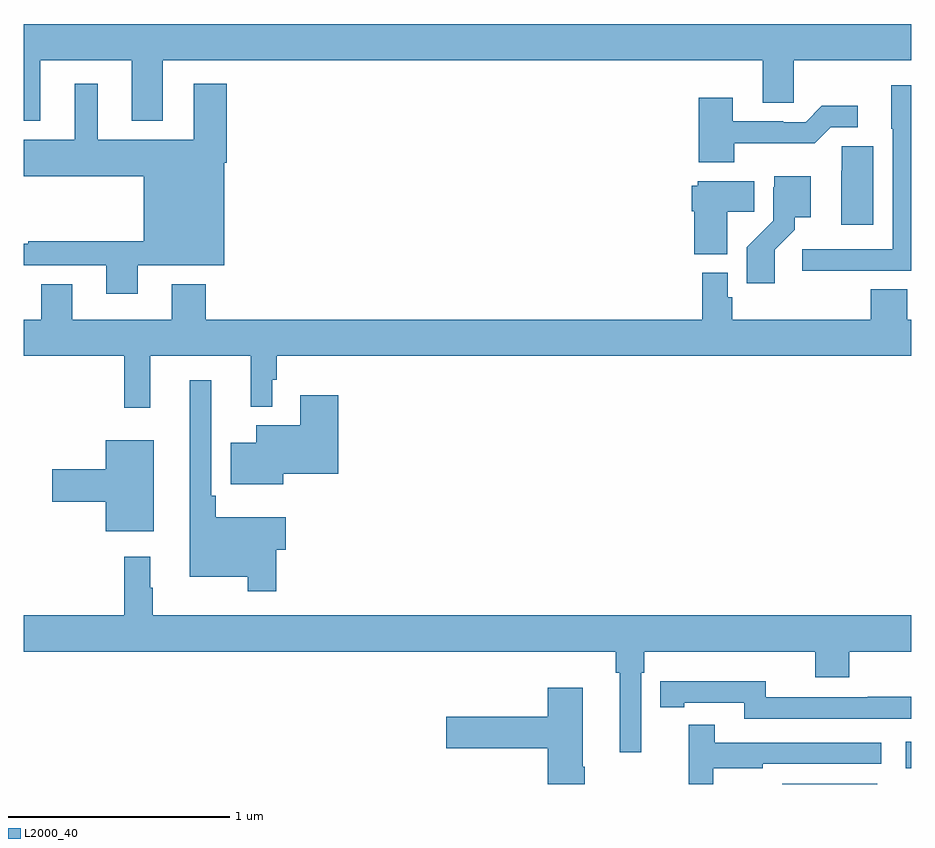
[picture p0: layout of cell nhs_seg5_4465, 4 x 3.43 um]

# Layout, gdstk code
import gdstk
lib = gdstk.Library(unit=1e-6, precision=1e-09)
def R(c, l, rs):  # rectangles x0, y0, x1, y1
    for r in rs: c.add(gdstk.rectangle(r[:2], r[2:], *l))
def P(c, l, *ps):  # polygons
    for p in ps: c.add(gdstk.Polygon(p, *l))
L2000_40 = (2000, 40)

nhs_seg5_4465 = lib.new_cell('nhs_seg5_4465')
R(nhs_seg5_4465, L2000_40, [(376.419,886.799,376.846,886.801), (376.974,886.869,377,886.99)])
P(nhs_seg5_4465, L2000_40, [(373.075,890.06),(373.487,890.06),(373.487,889.787),(373.627,889.787),(373.627,890.06),(376.331,890.06),(376.331,889.87),(376.47,889.87),(376.47,890.06),(377,890.06),(377,890.224),(373,890.224),(373,889.787),(373.075,889.787)],
  [(373.513,889.136),(373.903,889.136),(373.903,889.598),(373.916,889.598),(373.916,889.954),(373.766,889.954),(373.766,889.702),(373.333,889.702),(373.333,889.954),(373.229,889.954),(373.229,889.702),(373,889.702),(373,889.538),(373.541,889.538),(373.541,889.246),(373.021,889.246),(373.021,889.233),(373,889.233),(373,889.137),(373.373,889.137),(373.373,889.008),(373.513,889.008)],
  [(376.733,889.113),(377,889.113),(377,889.948),(376.91,889.948),(376.91,889.752),(376.917,889.752),(376.917,889.209),(376.509,889.209),(376.509,889.111),(376.733,889.111)],
  [(376.203,889.686),(376.565,889.686),(376.638,889.758),(376.759,889.758),(376.759,889.855),(376.597,889.855),(376.524,889.782),(376.424,889.782),(376.424,889.785),(376.195,889.785),(376.195,889.891),(376.043,889.891),(376.043,889.601),(376.203,889.601)],
  [(376.828,889.673),(376.686,889.673),(376.686,889.562),(376.685,889.562),(376.685,889.32),(376.828,889.32)],
  [(376.384,889.207),(376.474,889.297),(376.474,889.352),(376.546,889.352),(376.546,889.537),(376.382,889.537),(376.382,889.488),(376.377,889.488),(376.377,889.337),(376.258,889.218),(376.258,889.056),(376.384,889.056)],
  [(376.171,889.378),(376.292,889.378),(376.292,889.516),(376.038,889.516),(376.038,889.494),(376.01,889.494),(376.01,889.38),(376.022,889.38),(376.022,889.187),(376.171,889.187)],
  [(373.571,888.728),(374.024,888.728),(374.024,888.5),(374.121,888.5),(374.121,888.621),(374.141,888.621),(374.141,888.728),(377,888.728),(377,888.892),(376.982,888.892),(376.982,889.028),(376.817,889.028),(376.817,888.892),(376.193,888.892),(376.193,888.993),(376.173,888.993),(376.173,889.102),(376.057,889.102),(376.057,888.892),(373.82,888.892),(373.82,889.051),(373.667,889.051),(373.667,888.892),(373.219,888.892),(373.219,889.052),(373.079,889.052),(373.079,888.892),(373,888.892),(373,888.728),(373.453,888.728),(373.453,888.495),(373.571,888.495)],
  [(374.138,887.854),(374.182,887.854),(374.182,888.001),(373.865,888.001),(373.865,888.097),(373.845,888.097),(373.845,888.619),(373.748,888.619),(373.748,887.732),(374.01,887.732),(374.01,887.667),(374.138,887.667)],
  [(374.17,888.197),(374.417,888.197),(374.417,888.55),(374.246,888.55),(374.246,888.415),(374.048,888.415),(374.048,888.337),(373.934,888.337),(373.934,888.149),(374.17,888.149)],
  [(373.585,888.349),(373.37,888.349),(373.37,888.218),(373.128,888.218),(373.128,888.071),(373.37,888.071),(373.37,887.939),(373.585,887.939)],
  [(375.783,887.3),(375.797,887.3),(375.797,887.396),(376.568,887.396),(376.568,887.279),(376.721,887.279),(376.721,887.396),(377,887.396),(377,887.56),(373.582,887.56),(373.582,887.684),(373.57,887.684),(373.57,887.824),(373.453,887.824),(373.453,887.56),(373,887.56),(373,887.396),(375.667,887.396),(375.667,887.3),(375.686,887.3),(375.686,886.941),(375.783,886.941)],
  [(377,887.192),(376.804,887.192),(376.804,887.19),(376.344,887.19),(376.344,887.263),(375.976,887.263),(375.976,887.262),(375.868,887.262),(375.868,887.146),(375.976,887.146),(375.976,887.166),(376.248,887.166),(376.248,887.094),(377,887.094)],
  [(375.528,886.877),(375.52,886.877),(375.52,887.233),(375.362,887.233),(375.362,887.103),(374.904,887.103),(374.904,886.961),(375.362,886.961),(375.362,886.799),(375.528,886.799)],
  [(376.108,886.87),(376.331,886.87),(376.331,886.89),(376.864,886.89),(376.864,886.986),(376.115,886.986),(376.115,887.065),(375.998,887.065),(375.998,886.799),(376.108,886.799)])

lib.write_gds('nhs_seg5_4465.gds')
